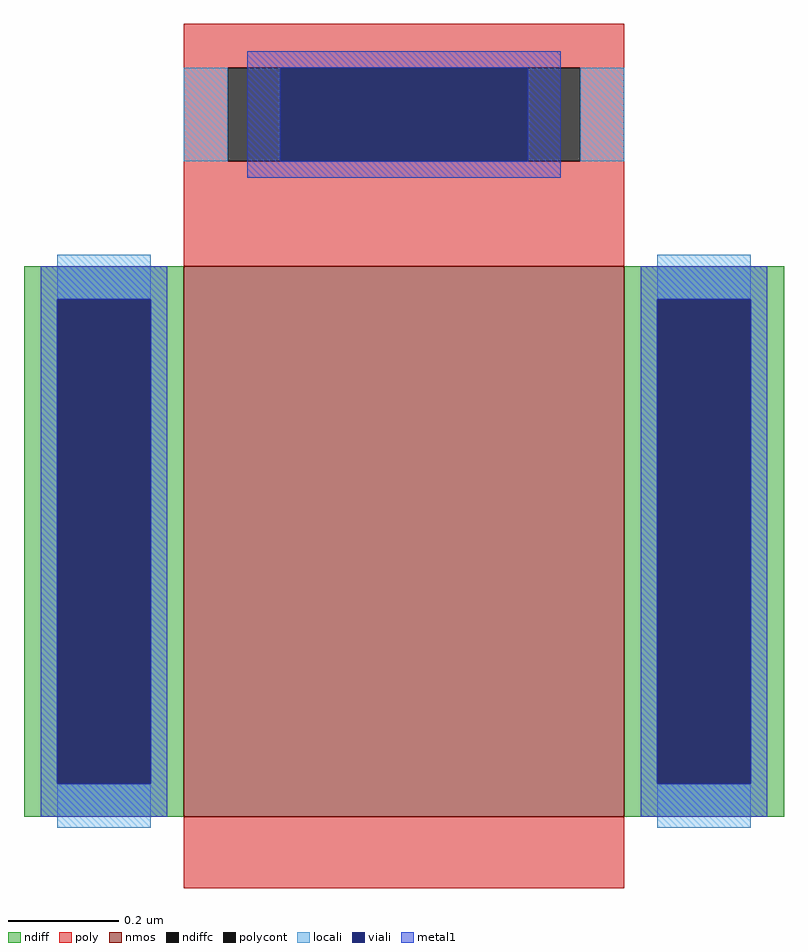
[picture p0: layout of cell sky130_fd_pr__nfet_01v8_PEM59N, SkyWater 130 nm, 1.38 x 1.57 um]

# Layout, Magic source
magic
tech sky130A
magscale 1 2
<< nmos >>
rect -80 -131 80 69
<< ndiff >>
rect -138 57 -80 69
rect -138 -119 -126 57
rect -92 -119 -80 57
rect -138 -131 -80 -119
rect 80 57 138 69
rect 80 -119 92 57
rect 126 -119 138 57
rect 80 -131 138 -119
<< ndiffc >>
rect -126 -119 -92 57
rect 92 -119 126 57
<< poly >>
rect -80 141 80 157
rect -80 107 -64 141
rect 64 107 80 141
rect -80 69 80 107
rect -80 -157 80 -131
<< polycont >>
rect -64 107 64 141
<< locali >>
rect -80 107 -64 141
rect 64 107 80 141
rect -126 57 -92 73
rect -126 -135 -92 -119
rect 92 57 126 73
rect 92 -135 126 -119
<< viali >>
rect -45 107 45 141
rect -126 -119 -92 57
rect 92 -119 126 57
<< metal1 >>
rect -57 141 57 147
rect -57 107 -45 141
rect 45 107 57 141
rect -57 101 57 107
rect -132 57 -86 69
rect -132 -119 -126 57
rect -92 -119 -86 57
rect -132 -131 -86 -119
rect 86 57 132 69
rect 86 -119 92 57
rect 126 -119 132 57
rect 86 -131 132 -119
<< properties >>
string gencell sky130_fd_pr__nfet_01v8
string library sky130
string parameters w 1 l 0.8 m 1 nf 1 diffcov 100 polycov 100 guard 0 glc 1 grc 1 gtc 1 gbc 1 tbcov 100 rlcov 100 topc 1 botc 0 poverlap 0 doverlap 1 lmin 0.15 wmin 0.42 compatible {sky130_fd_pr__nfet_01v8 sky130_fd_pr__nfet_01v8_lvt  sky130_fd_bs_flash__special_sonosfet_star  sky130_fd_pr__nfet_g5v0d10v5 sky130_fd_pr__nfet_05v0_nvt  sky130_fd_pr__nfet_03v3_nvt} full_metal 1 viasrc 100 viadrn 100 viagate 70 viagb 0 viagr 0 viagl 0 viagt 0
<< end >>
